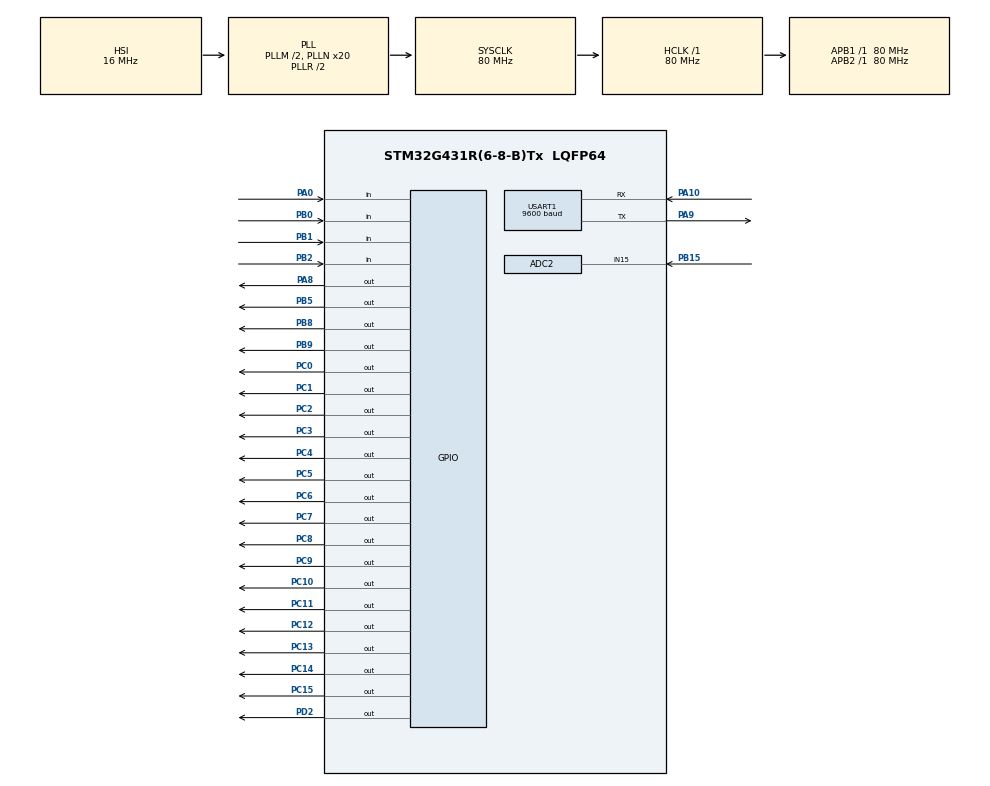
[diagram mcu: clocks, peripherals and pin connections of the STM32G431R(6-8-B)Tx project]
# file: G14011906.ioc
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ADC2.Channel-0\#ChannelRegularConversion=ADC_CHANNEL_15
ADC2.NbrOfConversionFlag=1
ADC2.OffsetNumber-0\#ChannelRegularConversion=ADC_OFFSET_NONE
ADC2.Rank-0\#ChannelRegularConversion=1
ADC2.SamplingTime-0\#ChannelRegularConversion=ADC_SAMPLETIME_2CYCLES_5
Mcu.Family=STM32G4
Mcu.Name=STM32G431R(6-8-B)Tx
Mcu.Package=LQFP64
NVIC.ADC1_2_IRQn=true\:0\:0\:false\:false\:true\:true\:true
NVIC.PriorityGroup=NVIC_PRIORITYGROUP_4
NVIC.TIM3_IRQn=true\:0\:0\:false\:false\:true\:true\:true
NVIC.TIM4_IRQn=true\:0\:0\:false\:false\:true\:true\:true
NVIC.USART1_IRQn=true\:0\:0\:false\:false\:true\:true\:true
PA0.Signal=GPIO_Input
PA10.Mode=Asynchronous
PA10.Signal=USART1_RX
PA8.Signal=GPIO_Output
PA9.Mode=Asynchronous
PA9.Signal=USART1_TX
PB0.Signal=GPIO_Input
PB1.Signal=GPIO_Input
PB15.Mode=IN15-Single-Ended
PB15.Signal=ADC2_IN15
PB2.Signal=GPIO_Input
PB5.Signal=GPIO_Output
PB8-BOOT0.Signal=GPIO_Output
PB9.Signal=GPIO_Output
PC0.Signal=GPIO_Output
PC1.Signal=GPIO_Output
PC10.Signal=GPIO_Output
PC11.Signal=GPIO_Output
PC12.Signal=GPIO_Output
PC13.Signal=GPIO_Output
PC14-OSC32_IN.Signal=GPIO_Output
PC15-OSC32_OUT.Signal=GPIO_Output
PC2.Signal=GPIO_Output
PC3.Signal=GPIO_Output
PC4.Signal=GPIO_Output
PC5.Signal=GPIO_Output
PC6.Signal=GPIO_Output
PC7.Signal=GPIO_Output
PC8.Signal=GPIO_Output
PC9.Signal=GPIO_Output
PD2.Signal=GPIO_Output
PF0-OSC_IN.Mode=HSE-External-Oscillator
PF0-OSC_IN.Signal=RCC_OSC_IN
PF1-OSC_OUT.Mode=HSE-External-Oscillator
PF1-OSC_OUT.Signal=RCC_OSC_OUT
ProjectManager.HeapSize=0x200
ProjectManager.StackSize=0x400
ProjectManager.TargetToolchain=MDK-ARM V5
RCC.ADC12Freq_Value=80000000
RCC.AHBFreq_Value=80000000
RCC.APB1Freq_Value=80000000
RCC.APB1TimFreq_Value=80000000
RCC.APB2Freq_Value=80000000
RCC.APB2TimFreq_Value=80000000
RCC.CortexFreq_Value=80000000
RCC.EXTERNAL_CLOCK_VALUE=12288000
RCC.HCLKFreq_Value=80000000
RCC.HSE_VALUE=24000000
RCC.HSI48_VALUE=48000000
RCC.HSI_VALUE=16000000
RCC.LSE_VALUE=32768
RCC.PLLM=RCC_PLLM_DIV2
RCC.PLLN=20
RCC.SYSCLKFreq_VALUE=80000000
RCC.SYSCLKSource=RCC_SYSCLKSOURCE_PLLCLK
RCC.USBFreq_Value=80000000
RCC.VCOOutputFreq_Value=160000000
TIM3.PeriodNoDither=9
TIM3.Prescaler=79
TIM4.PeriodNoDither=9999
TIM4.Prescaler=79
USART1.BaudRate=9600
USART1.VirtualMode-Asynchronous=VM_ASYNC
VP_SYS_VS_DBSignals.Mode=DisableDeadBatterySignals
VP_TIM3_VS_ClockSourceINT.Mode=Internal
VP_TIM4_VS_ClockSourceINT.Mode=Internal
board=custom

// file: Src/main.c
/* USER CODE BEGIN Header */
/**
  ******************************************************************************
  * @file           : main.c
  * @brief          : Main program body
  ******************************************************************************
  * @attention
  *
  * <h2><center>&copy; Copyright (c) 2021 STMicroelectronics.
  * All rights reserved.</center></h2>
  *
  * This software component is licensed by ST under BSD 3-Clause license,
  * the "License"; You may not use this file except in compliance with the
  * License. You may obtain a copy of the License at:
  *                        opensource.org/licenses/BSD-3-Clause
  *
  ******************************************************************************
  */
/* USER CODE END Header */

#include "main.h"
#include "adc.h"
#include "tim.h"
#include "usart.h"
#include "gpio.h"

/* USER CODE BEGIN Includes */
#include "lcd.h"
#include "led.h"
#include "key.h"
#include "stdio.h"
#include "string.h"
/* USER CODE END Includes */

void SystemClock_Config(void);

/* USER CODE BEGIN 0 */
extern  struct          keys key[4];
#define LCD_DATA        0
#define LCD_PARA        1
_Bool   lcd_mode  =     LCD_DATA;
float   volt_r37  =     0;
u32     volt_cnt  =     0;
u32     adc2_val  =     0;

u8      volt_max  =     30;
u8      volt_min  =     10;
u8      max_com   =     30;
u8      min_com   =     10;
extern u8      led_ctrl;
extern u8      led_level;

void ADC_Proc(void)
{
    HAL_ADC_Start(&hadc2);
    adc2_val = HAL_ADC_GetValue(&hadc2);
    volt_r37 = adc2_val / 4096.0f * 3.3f;
}

void LCD_Proc(void)
{
    char lcd_buf[20];
    if( lcd_mode  == LCD_DATA )
    {
        LCD_DisplayStringLine(Line0,(unsigned char *)"      Data          ");
        sprintf(lcd_buf," V:%4.2fV            ",volt_r37);
        LCD_DisplayStringLine(Line2,(unsigned char *)lcd_buf);
        sprintf(lcd_buf," V:%ds               ",volt_cnt);
        LCD_DisplayStringLine(Line3,(unsigned char *)lcd_buf);
    }
    else
    {
        LCD_DisplayStringLine(Line0,(unsigned char *)"      Para          ");
        sprintf(lcd_buf," Vmax:%3.1fV               ",volt_max/10.0f);
        LCD_DisplayStringLine(Line2,(unsigned char *)lcd_buf);
        sprintf(lcd_buf," Vmin:%3.1fV               ",volt_min/10.0f);
        LCD_DisplayStringLine(Line3,(unsigned char *)lcd_buf);
    }
}

void KEY_Proc(void)
{
    if(key[0].key_ok == 1)
    {
        lcd_mode = !lcd_mode;
        if( lcd_mode == LCD_DATA)
        {
            if(volt_max >= volt_min + 10)
            {
                led_ctrl &= ~0x02;
                max_com = volt_max;
                min_com = volt_min;
            }
            else
            {
                led_ctrl |= 0x02;
                volt_max = max_com;
                volt_min = min_com;
            }
        }
        key[0].key_ok = 0;
    }
    if(key[1].key_ok == 1)
    {
        if( lcd_mode  == LCD_PARA )
            volt_max = (volt_max + 1) % 34;
        key[1].key_ok = 0;
    }
    if(key[2].key_ok == 1)
    {
        if( lcd_mode  == LCD_PARA )
            volt_min = (volt_min + 1) % 34;

        key[2].key_ok = 0;
    }
    if(key[3].key_ok == 1)
    {
        key[3].key_ok = 0;
    }
}

_Bool   cnt1_flag = 0;
_Bool   cnt2_flag = 0;
_Bool   cnt_ok = 0;

void CNT_Proc(void)
{
    if(volt_r37 < volt_min/10.0f)
        cnt1_flag = 1;
    if(volt_r37 >= volt_min / 10.0f && cnt1_flag == 1 && volt_r37 < volt_max/10.0f)
    {
        cnt_ok = 1;
        cnt1_flag = 0;
//        cnt2_flag = 1;
        led_ctrl |= 0x01;
        volt_cnt = 0;
    }
    if(volt_r37 >= volt_max / 10.0f )
    {
        cnt_ok = 0;
        led_ctrl &= ~0x01;
        cnt1_flag = 0;
    }
}

int Is_RealString(u8* rx_buf)
{
    if(rx_buf[0] >= '0' && rx_buf[0] <= '9' && rx_buf[1] == '.' && rx_buf[3] == ',' && rx_buf[5] == '.')
        if(rx_buf[2] >= '0' && rx_buf[2] <= '9' &&rx_buf[4] >= '0' && rx_buf[4] <= '9' &&rx_buf[6] >= '0' && rx_buf[6] <= '9' )
            return 1;
    return 0;
}

u32 uartTick = 0;
u8  rx_buf[8];
u8  rx_dat;
u8  rx_point;
void HAL_UART_RxCpltCallback(UART_HandleTypeDef *huart)
{
    uartTick = uwTick;
    rx_buf[rx_point++] = rx_dat;
    HAL_UART_Receive_IT(&huart1,&rx_dat,1);
}

void Idle_Proc(void)
{
    if(uwTick - uartTick < 50) return;
    uartTick = uwTick;
    if(rx_point > 0)
    {
        u8 uart_buf[10];
        if(rx_point == 7)
        {
            if(Is_RealString(rx_buf) == 1)
            {
                volt_max = (rx_buf[0] - '0') * 10 + (rx_buf[2] - '0');
                volt_min = (rx_buf[4] - '0') * 10 + (rx_buf[6] - '0');
                if(volt_max >= volt_min + 10 &&  volt_max <= 33)
                {
                    max_com = volt_max;
                    min_com = volt_min;
                    led_ctrl &= ~0x04;
                }
                else
                {
                    led_ctrl |= 0x04;
                    volt_max = max_com;
                    volt_min = min_com;
                }
            }
            else
            {
                led_ctrl |= 0x04;
                sprintf((char *)uart_buf,"error\r\n");
                HAL_UART_Transmit(&huart1,uart_buf,strlen((char *)uart_buf),50);
            }
        }
        else
        {
                led_ctrl |= 0x04;
             sprintf((char *)uart_buf,"error\r\n");
             HAL_UART_Transmit(&huart1,uart_buf,strlen((char *)uart_buf),50);
        }
    }
    rx_point = 0;
    memset(rx_buf,'\0',sizeof(rx_buf));
}

void LEV_Proc(void)
{
    if(volt_r37 < 0.5f) led_level = 10;
    else if(volt_r37 < 1.0f) led_level = 30;
    else if(volt_r37 < 1.5f) led_level = 50;
    else if(volt_r37 < 2.0f) led_level = 70;
    else if(volt_r37 < 2.5f) led_level = 90;
    else led_level = 100;
}
extern u8  led_time;
u32 ledTick = 0;
void LED_Proc(void)
{
    if(led_time < led_level)
    {
          led_ctrl |= 0x40;
          LED_Ctrl(led_ctrl);
    }
    else if(led_time > led_level)
    {
          led_ctrl &= ~0x40;
         LED_Ctrl(led_ctrl);
    }
}

u32   cnt_cnt = 0;
void SysTick_Handler(void)
{
  HAL_IncTick();

  if(cnt_ok == 1)
  {
      cnt_cnt++;
      if(cnt_cnt == 1000)
      {
          volt_cnt++;
          cnt_cnt = 0;
      }
  }
}
/* USER CODE END 0 */

int main(void)
{

  /* MCU Configuration--------------------------------------------------------*/

  /* Reset of all peripherals, Initializes the Flash interface and the Systick. */
  HAL_Init();

  /* Configure the system clock */
  SystemClock_Config();

  /* Initialize all configured peripherals */
  MX_GPIO_Init();
  MX_ADC2_Init();
  MX_TIM4_Init();
  MX_USART1_UART_Init();
  MX_TIM3_Init();
  /* USER CODE BEGIN 2 */

	LCD_Init();
  /* USER CODE END 2 */

  /* Infinite loop */
  /* USER CODE BEGIN WHILE */

	LCD_Clear(Black);
	LCD_SetBackColor(Black);
	LCD_SetTextColor(White);

    HAL_TIM_Base_Start_IT(&htim4);
    HAL_TIM_Base_Start_IT(&htim3);
	HAL_UART_Receive_IT(&huart1,&rx_dat,1);

  while (1)
  {
    /* USER CODE END WHILE */

    /* USER CODE BEGIN 3 */
    LCD_Proc();
    ADC_Proc();
    KEY_Proc();
    CNT_Proc();
    //LED_Proc();
    Idle_Proc();
LEV_Proc();
  }
  /* USER CODE END 3 */
}

void SystemClock_Config(void)
{
  RCC_OscInitTypeDef RCC_OscInitStruct = {0};
  RCC_ClkInitTypeDef RCC_ClkInitStruct = {0};
  RCC_PeriphCLKInitTypeDef PeriphClkInit = {0};

  /** Configure the main internal regulator output voltage
  */
  HAL_PWREx_ControlVoltageScaling(PWR_REGULATOR_VOLTAGE_SCALE1);
  /** Initializes the CPU, AHB and APB busses clocks
  */
  RCC_OscInitStruct.OscillatorType = RCC_OSCILLATORTYPE_HSI;
  RCC_OscInitStruct.HSIState = RCC_HSI_ON;
  RCC_OscInitStruct.HSICalibrationValue = RCC_HSICALIBRATION_DEFAULT;
  RCC_OscInitStruct.PLL.PLLState = RCC_PLL_ON;
  RCC_OscInitStruct.PLL.PLLSource = RCC_PLLSOURCE_HSI;
  RCC_OscInitStruct.PLL.PLLM = RCC_PLLM_DIV2;
  RCC_OscInitStruct.PLL.PLLN = 20;
  RCC_OscInitStruct.PLL.PLLP = RCC_PLLP_DIV2;
  RCC_OscInitStruct.PLL.PLLQ = RCC_PLLQ_DIV2;
  RCC_OscInitStruct.PLL.PLLR = RCC_PLLR_DIV2;
  if (HAL_RCC_OscConfig(&RCC_OscInitStruct) != HAL_OK)
  {
    Error_Handler();
  }
  /** Initializes the CPU, AHB and APB busses clocks
  */
  RCC_ClkInitStruct.ClockType = RCC_CLOCKTYPE_HCLK|RCC_CLOCKTYPE_SYSCLK
                              |RCC_CLOCKTYPE_PCLK1|RCC_CLOCKTYPE_PCLK2;
  RCC_ClkInitStruct.SYSCLKSource = RCC_SYSCLKSOURCE_PLLCLK;
  RCC_ClkInitStruct.AHBCLKDivider = RCC_SYSCLK_DIV1;
  RCC_ClkInitStruct.APB1CLKDivider = RCC_HCLK_DIV1;
  RCC_ClkInitStruct.APB2CLKDivider = RCC_HCLK_DIV1;

  if (HAL_RCC_ClockConfig(&RCC_ClkInitStruct, FLASH_LATENCY_3) != HAL_OK)
  {
    Error_Handler();
  }
  /** Initializes the peripherals clocks
  */
  PeriphClkInit.PeriphClockSelection = RCC_PERIPHCLK_USART1|RCC_PERIPHCLK_ADC12;
  PeriphClkInit.Usart1ClockSelection = RCC_USART1CLKSOURCE_PCLK2;
  PeriphClkInit.Adc12ClockSelection = RCC_ADC12CLKSOURCE_SYSCLK;
  if (HAL_RCCEx_PeriphCLKConfig(&PeriphClkInit) != HAL_OK)
  {
    Error_Handler();
  }
}

void Error_Handler(void)
{
}

/************************ (C) COPYRIGHT STMicroelectronics *****END OF FILE****/
